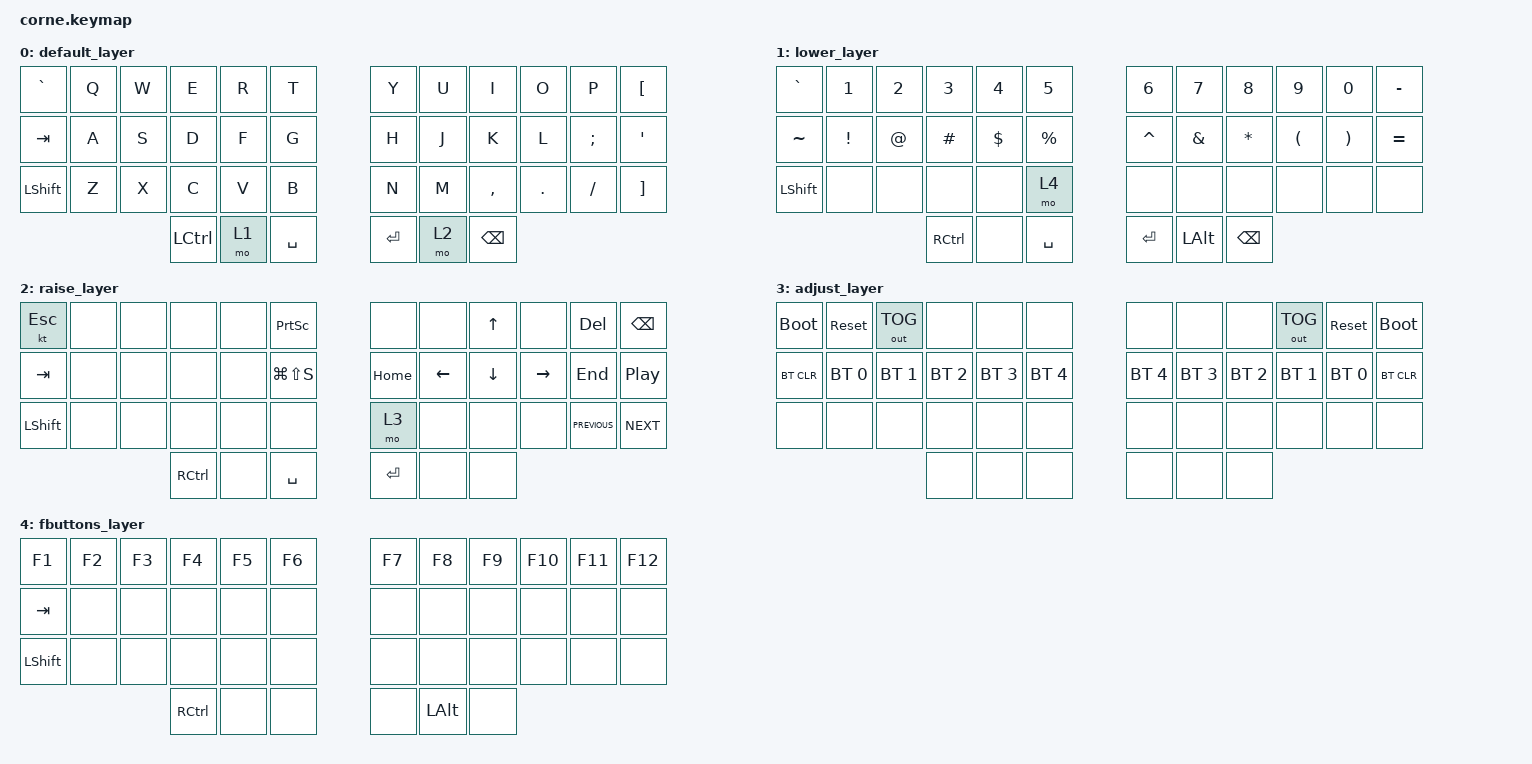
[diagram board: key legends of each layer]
/*
 * Copyright (c) 2020 The ZMK Contributors
 *
 * SPDX-License-Identifier: MIT
 */

#include <behaviors.dtsi>
#include <dt-bindings/zmk/bt.h>
#include <dt-bindings/zmk/keys.h>
#include <dt-bindings/zmk/outputs.h>

#define DEF 0
#define LWR 1
#define RSE 2
#define FLR 3
#define ADJ 4

&lt { quick_tap_ms = <219>; };

&mt { quick_tap_ms = <219>; };

&led_strip { chain-length = <21>; };

/ {
    behaviors {
        tdF: tap_dance_lang1 {
            compatible = "zmk,behavior-tap-dance";
            #binding-cells = <0>;
            tapping-term-ms = <100>;
            bindings = <&kp F>, <&kp LG(F11)>;
        };

        tdJ: tap_dance_lang2 {
            compatible = "zmk,behavior-tap-dance";
            #binding-cells = <0>;
            tapping-term-ms = <100>;
            bindings = <&kp J>, <&kp LG(F12)>;
        };

        lh_pht: left_positional_hold_tap {
            compatible = "zmk,behavior-hold-tap";
            #binding-cells = <2>;
            flavor = "tap-unless-interrupted";
            tapping-term-ms = <100>;                        // <---[[produces tap if held longer than tapping-term-ms]]
            quick-tap-ms = <200>;
            bindings = <&kp>, <&kp>;

            hold-trigger-key-positions = <0 1 2 3 4 5>;    // <---[[right-hand keys]]
        };
    };

    combos {
        compatible = "zmk,combos";

        ParaLeft {
            bindings = <&kp LEFT_PARENTHESIS>;
            key-positions = <4 5>;
            timeout-ms = <20>;
        };

        ParaRight {
            bindings = <&kp RIGHT_PARENTHESIS>;
            key-positions = <6 7>;
            timeout-ms = <20>;
        };

        BrakLeft {
            bindings = <&kp LEFT_BRACKET>;
            key-positions = <16 17>;
            timeout-ms = <20>;
        };

        BrakRight {
            bindings = <&kp RIGHT_BRACKET>;
            key-positions = <18 19>;
            timeout-ms = <20>;
        };

        BraceLeft {
            bindings = <&kp LEFT_BRACE>;
            key-positions = <28 29>;
            timeout-ms = <20>;
        };

        BraceRight {
            bindings = <&kp RIGHT_BRACE>;
            key-positions = <30 31>;
            timeout-ms = <20>;
        };

        //LangRu {
        //    bindings = <&kp LG(F11)>;
        //    key-positions = <0 1>;
        //    timeout-ms = <20>;
        //};
        //LangUs {
        //   bindings = <&kp LG(F12)>;
        //    key-positions = <10 11>;
        //    timeout-ms = <20>;
        //};
        //LangRuL {
        //    bindings = <&kp LG(F11)>;
        //    key-positions = <36 38>;
        //    timeout-ms = <20>;
        //};
        //LangUsL {
        //    bindings = <&kp LG(F12)>;
        //    key-positions = <39 41>;
        //    timeout-ms = <20>;
        //};

        UNDR {
            bindings = <&kp UNDERSCORE>;
            key-positions = <3 4>;
        };

        EQ {
            bindings = <&kp EQUAL>;
            key-positions = <7 8>;
        };

        MIN {
            bindings = <&kp MINUS>;
            key-positions = <15 16>;
        };

        PL {
            bindings = <&kp PLUS>;
            key-positions = <19 20>;
        };

        DIV {
            bindings = <&kp SLASH>;
            key-positions = <27 28>;
        };

        MUL {
            bindings = <&kp ASTERISK>;
            key-positions = <31 32>;
        };

        NO {
            bindings = <&kp TILDE>;
            key-positions = <2 3>;
        };

        OR {
            bindings = <&kp PIPE>;
            key-positions = <8 9>;
        };

        QUES {
            bindings = <&kp QUESTION>;
            key-positions = <14 15>;
        };

        VOS {
            bindings = <&kp EXCLAMATION>;
            key-positions = <20 21>;
        };

        ABS {
            bindings = <&kp CARET>;
            key-positions = <26 27>;
        };

        AND {
            bindings = <&kp AMPERSAND>;
            key-positions = <32 33>;
        };

        QUIT {
            bindings = <&kp ESC>;
            key-positions = <0 1>;
        };

        BACK {
            bindings = <&kp BACKSPACE>;
            key-positions = <10 11>;
        };

        next {
            bindings = <&kp LA(TAB)>;
            key-positions = <12 13>;
        };

        de {
            bindings = <&kp DEL>;
            key-positions = <22 23>;
        };

        n1 {
            bindings = <&kp NUMBER_1>;
            key-positions = <1 13>;
        };

        n2 {
            bindings = <&kp NUMBER_2>;
            key-positions = <2 14>;
        };

        n3 {
            bindings = <&kp NUMBER_3>;
            key-positions = <3 15>;
        };

        n4 {
            bindings = <&kp NUMBER_4>;
            key-positions = <4 16>;
        };

        n5 {
            bindings = <&kp N5>;
            key-positions = <5 17>;
        };

        n6 {
            bindings = <&kp NUMBER_6>;
            key-positions = <6 18>;
        };

        n7 {
            bindings = <&kp N7>;
            key-positions = <7 19>;
        };

        n8 {
            bindings = <&kp N8>;
            key-positions = <8 20>;
        };

        n9 {
            bindings = <&kp N9>;
            key-positions = <9 21>;
        };

        n0 {
            bindings = <&kp N0>;
            key-positions = <10 22>;
        };
    };
};

/ {
    keymap {
        compatible = "zmk,keymap";

        default_layer {
            bindings = <
&kp GRAVE  &kp Q  &kp W  &kp E      &kp R  &kp T        &kp Y      &kp U  &kp I          &kp O    &kp P     &kp LEFT_BRACKET
&kp TAB    &kp A  &kp S  &kp D      &kp F  &kp G        &kp H      &kp J  &kp K          &kp L    &kp SEMI  &kp SQT
&kp LSHFT  &kp Z  &kp X  &kp C      &kp V  &kp B        &kp N      &kp M  &kp COMMA      &kp DOT  &kp FSLH  &kp RIGHT_BRACKET
                         &kp LCTRL  &mo 1  &kp SPACE    &kp ENTER  &mo 2  &kp BACKSPACE
            >;
        };

        lower_layer {
            bindings = <
&kp GRAVE  &kp N1    &kp N2  &kp N3     &kp N4    &kp N5       &kp N6     &kp N7        &kp N8         &kp N9    &kp N0    &kp MINUS
&kp TILDE  &kp EXCL  &kp AT  &kp HASH   &kp DLLR  &kp PRCNT    &kp CARET  &kp AMPS      &kp ASTRK      &kp LPAR  &kp RPAR  &kp EQUAL
&kp LSHFT  &none     &none   &none      &none     &mo 4        &none      &none         &none          &none     &none     &none
                             &kp RCTRL  &none     &kp SPACE    &kp ENTER  &kp LEFT_ALT  &kp BACKSPACE
            >;
        };

        raise_layer {
            bindings = <
&kt ESC         &none  &none  &none      &none  &kp PRINTSCREEN    &none      &none     &kp UP    &none      &kp DELETE      &kp BACKSPACE
&kp TAB         &none  &none  &none      &none  &kp LG(LS(S))      &kp HOME   &kp LEFT  &kp DOWN  &kp RIGHT  &kp END         &kp C_PLAY_PAUSE
&kp LEFT_SHIFT  &none  &none  &none      &none  &none              &mo 3      &none     &none     &none      &kp C_PREVIOUS  &kp C_NEXT
                              &kp RCTRL  &none  &kp SPACE          &kp ENTER  &none     &none
            >;
        };

        adjust_layer {
            bindings = <
&bootloader  &sys_reset    &out OUT_TOG  &none         &none         &none           &none         &none         &none         &out OUT_TOG  &sys_reset    &bootloader
&bt BT_CLR   &bt BT_SEL 0  &bt BT_SEL 1  &bt BT_SEL 2  &bt BT_SEL 3  &bt BT_SEL 4    &bt BT_SEL 4  &bt BT_SEL 3  &bt BT_SEL 2  &bt BT_SEL 1  &bt BT_SEL 0  &bt BT_CLR
&none        &none         &none         &none         &none         &none           &none         &none         &none         &none         &none         &none
                                         &none         &none         &none           &none         &none         &none
            >;
        };

        fbuttons_layer {
            bindings = <
&kp F1          &kp F2  &kp F3  &kp F4     &kp F5  &kp F6    &kp F7  &kp F8        &kp F9  &kp F10  &kp F11  &kp F12
&kp TAB         &none   &none   &none      &none   &none     &none   &none         &none   &none    &none    &none
&kp LEFT_SHIFT  &none   &none   &none      &none   &none     &none   &none         &none   &none    &none    &none
                                &kp RCTRL  &none   &none     &none   &kp LEFT_ALT  &none
            >;
        };
    };
};
